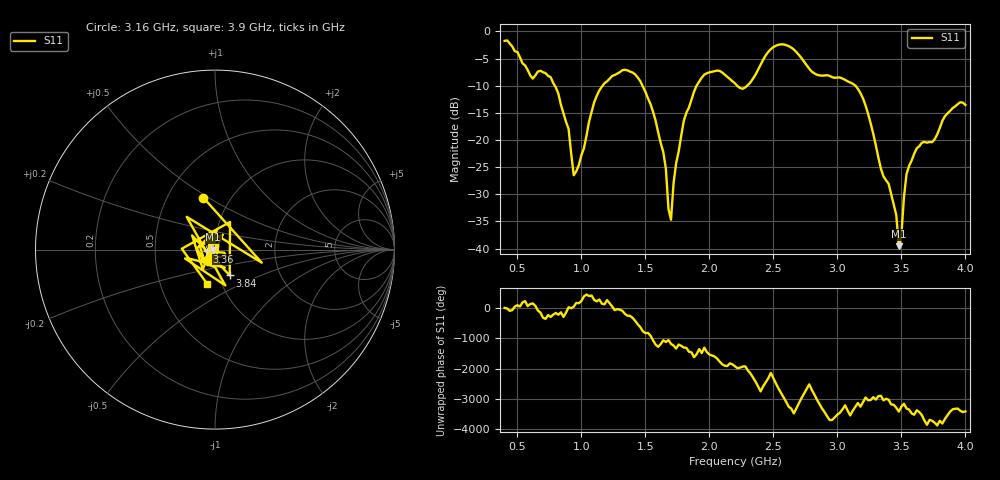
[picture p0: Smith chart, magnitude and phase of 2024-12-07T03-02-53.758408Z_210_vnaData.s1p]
!Created with skrf (http://scikit-rf.org).
# Hz S RI R 50.0
!freq ReS11 ImS11
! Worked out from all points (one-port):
!   181 points, 400 MHz to 4 GHz, reference 50 ohm
!   lowest |S11| = -39.5 dB at 3.48 GHz (marker M1), VSWR 1.02, Z = 49 - j0.0428 ohm
!   |S11| at or under -10 dB: 792.3 MHz to 1.166 GHz (373.4 MHz wide, 38.1 % of centre); 1.478 GHz to 1.9 GHz (421.9 MHz wide, 25 % of centre); 3.141 GHz to end of sweep (the widest 3 of 4)
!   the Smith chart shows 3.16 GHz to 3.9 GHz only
!   S11 on the Smith chart (normalised r, x): 3.16 GHz: 0.75, +0.48; 3.36 GHz: 0.91, -0.02; 3.84 GHz: 1.13, -0.33; 3.9 GHz: 0.86, -0.34
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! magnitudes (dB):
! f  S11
! 400 MHz  -1.7
! 620 MHz  -8.7
! 760 MHz  -8.4
! 860 MHz  -15.1
! 900 MHz  -18.0
! 940 MHz  -26.5
! 1.12 GHz  -11.9
! 1.3 GHz  -7.5
! 1.42 GHz  -7.9
! 1.54 GHz  -13.4
! 1.64 GHz  -22.2
! 1.7 GHz  -34.7
! 1.76 GHz  -22.1
! 1.8 GHz  -16.5
! 1.94 GHz  -8.5
! 2.2 GHz  -9.6
! 2.3 GHz  -9.9
! 2.5 GHz  -2.9
! 2.66 GHz  -3.3
! 3.1 GHz  -9.4
! 3.16 GHz  -10.6
! 3.36 GHz  -26.7
! 3.46 GHz  -33.8
! 3.48 GHz  -39.5
! 3.56 GHz  -24.8
! 3.84 GHz  -15.6
! 3.9 GHz  -14.1
! 4 GHz  -13.5
